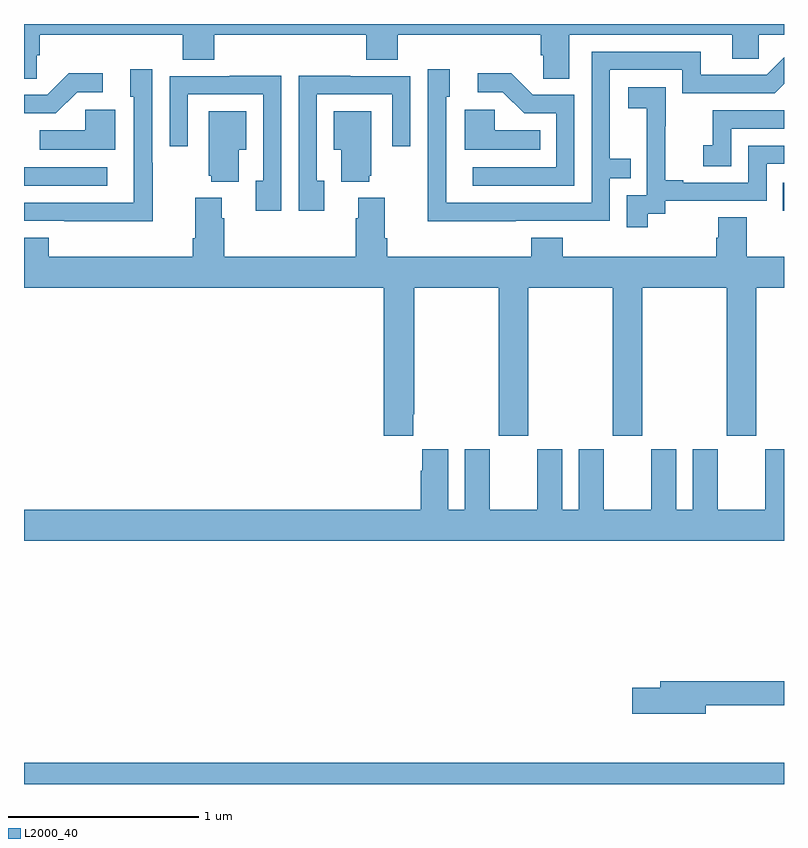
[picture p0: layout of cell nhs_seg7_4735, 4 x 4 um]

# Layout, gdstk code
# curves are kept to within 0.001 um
import gdstk
lib = gdstk.Library(unit=1e-6, precision=1e-09)
def R(c, l, rs):  # rectangles x0, y0, x1, y1
    for r in rs: c.add(gdstk.rectangle(r[:2], r[2:], *l))
def P(c, l, *ps):  # polygons
    for p in ps: c.add(gdstk.Polygon(p, *l))
L2000_40 = (2000, 40)

nhs_seg7_4735 = lib.new_cell('nhs_seg7_4735')
R(nhs_seg7_4735, L2000_40, [(409,1002,413,1002.112), (412.993,1005.018,413,1005.165), (409,1005.15,409.438,1005.246)])
P(nhs_seg7_4735, L2000_40, [(409.068,1005.835),(409.082,1005.835),(409.082,1005.944),(409.835,1005.944),(409.835,1005.811),(410,1005.811),(410,1005.944),(410.801,1005.944),(410.801,1005.811),(410.966,1005.811),(410.966,1005.944),(411.719,1005.944),(411.719,1005.835),(411.732,1005.835),(411.732,1005.712),(411.871,1005.712),(411.871,1005.944),(412.727,1005.944),(412.727,1005.817),(412.866,1005.817),(412.866,1005.944),(413,1005.944),(413,1006),(409,1006),(409,1005.712),(409.068,1005.712)],
  [(411.587,1004.964),(412.083,1004.964),(412.083,1005.189),(412.193,1005.189),(412.193,1005.29),(412.083,1005.29),(412.083,1005.759),(412.464,1005.759),(412.464,1005.636),(412.95,1005.636),(413,1005.686),(413,1005.824),(412.908,1005.732),(412.561,1005.732),(412.561,1005.855),(411.987,1005.855),(411.987,1005.06),(411.223,1005.06),(411.222,1005.618),(411.241,1005.618),(411.241,1005.763),(411.126,1005.763),(411.126,1005.269),(411.124,1005.269),(411.124,1004.963)],
  [(409.677,1005.269),(409.674,1005.269),(409.674,1005.763),(409.559,1005.763),(409.559,1005.618),(409.578,1005.618),(409.578,1005.314),(409.577,1005.314),(409.577,1005.06),(409,1005.06),(409,1004.964),(409.213,1004.964),(409.213,1004.963),(409.677,1004.963)],
  [(411.897,1005.627),(411.678,1005.627),(411.565,1005.74),(411.387,1005.74),(411.387,1005.642),(411.521,1005.642),(411.632,1005.531),(411.801,1005.531),(411.801,1005.246),(411.363,1005.246),(411.363,1005.15),(411.897,1005.15)],
  [(409.279,1005.642),(409.414,1005.642),(409.414,1005.74),(409.235,1005.74),(409.122,1005.627),(409,1005.627),(409,1005.531),(409.168,1005.531)],
  [(410.581,1005.174),(410.541,1005.174),(410.541,1005.63),(410.937,1005.63),(410.937,1005.357),(411.033,1005.357),(411.033,1005.726),(410.717,1005.726),(410.717,1005.728),(410.445,1005.728),(410.445,1005.018),(410.581,1005.018)],
  [(410.355,1005.728),(410.083,1005.728),(410.083,1005.726),(409.767,1005.726),(409.767,1005.357),(409.863,1005.357),(409.863,1005.63),(410.259,1005.63),(410.259,1005.174),(410.219,1005.174),(410.219,1005.018),(410.355,1005.018)],
  [(412.282,1005.001),(412.374,1005.001),(412.374,1005.069),(412.908,1005.069),(412.908,1005.264),(413,1005.264),(413,1005.36),(412.812,1005.36),(412.812,1005.165),(412.471,1005.165),(412.471,1005.178),(412.376,1005.178),(412.376,1005.461),(412.377,1005.461),(412.377,1005.667),(412.179,1005.667),(412.179,1005.557),(412.277,1005.557),(412.277,1005.329),(412.278,1005.329),(412.278,1005.099),(412.173,1005.099),(412.173,1004.931),(412.282,1004.931)],
  [(409.48,1005.55),(409.323,1005.55),(409.323,1005.442),(409.084,1005.442),(409.084,1005.338),(409.48,1005.338)],
  [(411.716,1005.442),(411.477,1005.442),(411.477,1005.55),(411.32,1005.55),(411.32,1005.338),(411.716,1005.338)],
  [(412.722,1005.45),(413,1005.45),(413,1005.546),(412.624,1005.546),(412.624,1005.361),(412.575,1005.361),(412.575,1005.252),(412.722,1005.252)],
  [(410.816,1005.201),(410.827,1005.201),(410.827,1005.541),(410.63,1005.541),(410.63,1005.338),(410.669,1005.338),(410.669,1005.17),(410.816,1005.17)],
  [(410.131,1005.338),(410.17,1005.338),(410.17,1005.541),(409.973,1005.541),(409.973,1005.201),(409.985,1005.201),(409.985,1005.17),(410.131,1005.17)],
  [(411.049,1003.945),(411.054,1003.945),(411.054,1004.612),(411.499,1004.612),(411.499,1003.833),(411.654,1003.833),(411.654,1004.612),(412.099,1004.612),(412.099,1003.833),(412.254,1003.833),(412.254,1004.612),(412.699,1004.612),(412.699,1003.833),(412.854,1003.833),(412.854,1004.612),(413,1004.612),(413,1004.776),(412.803,1004.776),(412.803,1004.984),(412.655,1004.984),(412.655,1004.874),(412.643,1004.874),(412.643,1004.776),(411.836,1004.776),(411.836,1004.875),(411.671,1004.875),(411.671,1004.776),(410.912,1004.776),(410.912,1004.872),(410.899,1004.872),(410.899,1005.085),(410.759,1005.085),(410.759,1004.978),(410.747,1004.978),(410.747,1004.776),(410.054,1004.776),(410.054,1004.978),(410.041,1004.978),(410.041,1005.085),(409.901,1005.085),(409.901,1004.872),(409.889,1004.872),(409.889,1004.776),(409.13,1004.776),(409.13,1004.875),(409,1004.875),(409,1004.612),(410.894,1004.612),(410.894,1003.833),(411.049,1003.833)],
  [(413,1003.762),(412.901,1003.762),(412.901,1003.444),(412.651,1003.444),(412.651,1003.762),(412.52,1003.762),(412.52,1003.444),(412.432,1003.444),(412.432,1003.762),(412.301,1003.762),(412.301,1003.444),(412.051,1003.444),(412.051,1003.762),(411.92,1003.762),(411.92,1003.444),(411.832,1003.444),(411.832,1003.762),(411.701,1003.762),(411.701,1003.444),(411.451,1003.444),(411.451,1003.762),(411.32,1003.762),(411.32,1003.444),(411.232,1003.444),(411.232,1003.762),(411.095,1003.762),(411.095,1003.649),(411.089,1003.649),(411.089,1003.444),(409,1003.444),(409,1003.28),(413,1003.28)],
  [(412.588,1002.414),(413,1002.414),(413,1002.542),(412.349,1002.542),(412.349,1002.506),(412.2,1002.506),(412.2,1002.371),(412.588,1002.371)])

lib.write_gds('nhs_seg7_4735.gds')
